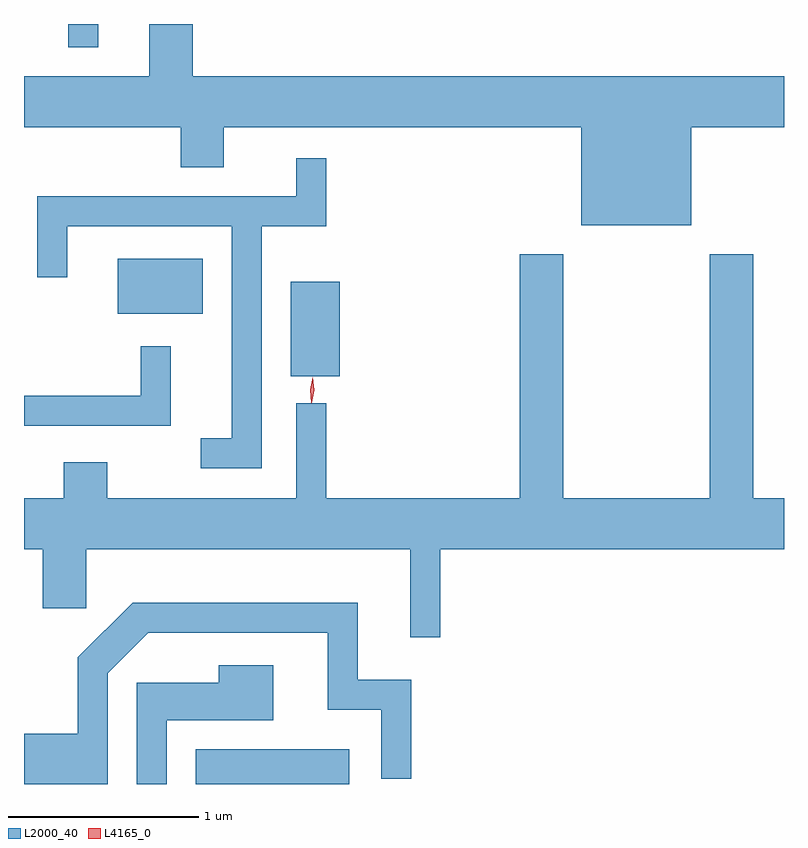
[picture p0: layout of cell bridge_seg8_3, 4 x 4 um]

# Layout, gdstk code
import gdstk
lib = gdstk.Library(unit=1e-6, precision=1e-09)
def R(c, l, rs):  # rectangles x0, y0, x1, y1
    for r in rs: c.add(gdstk.rectangle(r[:2], r[2:], *l))
def P(c, l, *ps):  # polygons
    for p in ps: c.add(gdstk.Polygon(p, *l))
L2000_40 = (2000, 40)
L4165_0 = (4165, 0)

bridge_seg8_3 = lib.new_cell('bridge_seg8_3')
R(bridge_seg8_3, L2000_40, [(1666.996,1877.36,1667.804,1877.544), (1667.496,1879.506,1667.754,1880.004), (1666.586,1879.836,1667.034,1880.124), (1666.326,1881.238,1666.484,1881.36)])
P(bridge_seg8_3, L2000_40, [(1669.604,1880.816),(1670.092,1880.816),(1670.092,1881.084),(1666.979,1881.084),(1666.979,1881.36),(1666.751,1881.36),(1666.751,1881.084),(1666.092,1881.084),(1666.092,1880.816),(1666.916,1880.816),(1666.916,1880.606),(1667.144,1880.606),(1667.144,1880.816),(1669.026,1880.816),(1669.026,1880.301),(1669.604,1880.301)],
  [(1667.344,1880.296),(1667.684,1880.296),(1667.684,1880.653),(1667.526,1880.653),(1667.526,1880.454),(1666.161,1880.454),(1666.161,1880.028),(1666.319,1880.028),(1666.319,1880.296),(1667.186,1880.296),(1667.186,1879.179),(1667.023,1879.179),(1667.023,1879.021),(1667.344,1879.021)],
  [(1668.284,1878.596),(1670.092,1878.596),(1670.092,1878.864),(1669.929,1878.864),(1669.929,1880.149),(1669.701,1880.149),(1669.701,1878.864),(1668.929,1878.864),(1668.929,1880.149),(1668.701,1880.149),(1668.701,1878.864),(1667.684,1878.864),(1667.684,1879.363),(1667.526,1879.363),(1667.526,1878.864),(1666.529,1878.864),(1666.529,1879.054),(1666.301,1879.054),(1666.301,1878.864),(1666.092,1878.864),(1666.092,1878.596),(1666.191,1878.596),(1666.191,1878.286),(1666.419,1878.286),(1666.419,1878.596),(1668.126,1878.596),(1668.126,1878.133),(1668.284,1878.133)],
  [(1666.864,1879.663),(1666.706,1879.663),(1666.706,1879.404),(1666.092,1879.404),(1666.092,1879.246),(1666.864,1879.246)],
  [(1666.534,1877.944),(1666.747,1878.156),(1667.691,1878.156),(1667.691,1877.751),(1667.971,1877.751),(1667.971,1877.388),(1668.129,1877.388),(1668.129,1877.909),(1667.849,1877.909),(1667.849,1878.314),(1666.664,1878.314),(1666.376,1878.027),(1666.376,1877.624),(1666.092,1877.624),(1666.092,1877.36),(1666.534,1877.36)],
  [(1666.844,1877.696),(1667.404,1877.696),(1667.404,1877.984),(1667.116,1877.984),(1667.116,1877.894),(1666.686,1877.894),(1666.686,1877.36),(1666.844,1877.36)])
P(bridge_seg8_3, L4165_0, [(1667.605,1879.365),(1667.604,1879.366),(1667.599,1879.434),(1667.612,1879.501),(1667.613,1879.502),(1667.613,1879.501),(1667.619,1879.433),(1667.606,1879.366)],
  [(1667.605,1879.368),(1667.604,1879.369),(1667.598,1879.434),(1667.611,1879.499),(1667.611,1879.5),(1667.612,1879.499),(1667.618,1879.433),(1667.606,1879.369)])

lib.write_gds('bridge_seg8_3.gds')
